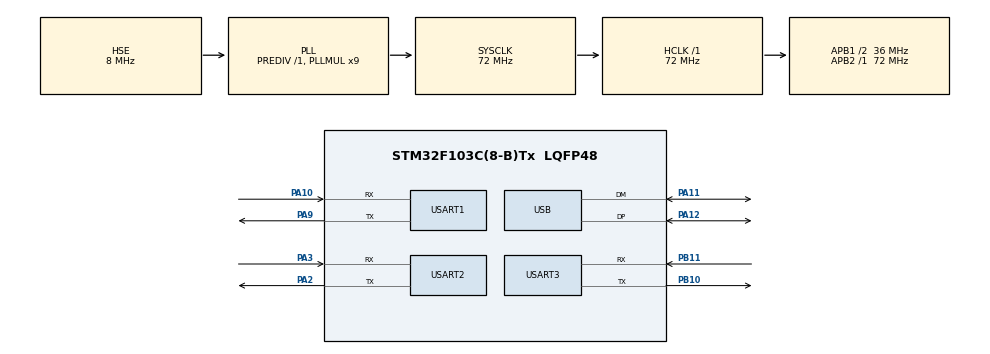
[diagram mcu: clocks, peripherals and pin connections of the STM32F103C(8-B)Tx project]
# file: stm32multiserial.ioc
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Dma.Request0=USART1_TX
Dma.Request1=USART2_TX
Dma.USART1_TX.0.Direction=DMA_MEMORY_TO_PERIPH
Dma.USART1_TX.0.Instance=DMA1_Channel4
Dma.USART1_TX.0.MemDataAlignment=DMA_MDATAALIGN_BYTE
Dma.USART1_TX.0.MemInc=DMA_MINC_ENABLE
Dma.USART1_TX.0.Mode=DMA_NORMAL
Dma.USART1_TX.0.PeriphDataAlignment=DMA_PDATAALIGN_BYTE
Dma.USART1_TX.0.PeriphInc=DMA_PINC_DISABLE
Dma.USART1_TX.0.Priority=DMA_PRIORITY_LOW
Dma.USART2_TX.1.Direction=DMA_MEMORY_TO_PERIPH
Dma.USART2_TX.1.Instance=DMA1_Channel7
Dma.USART2_TX.1.MemDataAlignment=DMA_MDATAALIGN_BYTE
Dma.USART2_TX.1.MemInc=DMA_MINC_ENABLE
Dma.USART2_TX.1.Mode=DMA_NORMAL
Dma.USART2_TX.1.PeriphDataAlignment=DMA_PDATAALIGN_BYTE
Dma.USART2_TX.1.PeriphInc=DMA_PINC_DISABLE
Dma.USART2_TX.1.Priority=DMA_PRIORITY_LOW
Mcu.Family=STM32F1
Mcu.Name=STM32F103C(8-B)Tx
Mcu.Package=LQFP48
NVIC.DMA1_Channel4_IRQn=true\:5\:0\:true\:false\:true\:false
NVIC.DMA1_Channel7_IRQn=true\:5\:0\:true\:false\:true\:false
NVIC.PriorityGroup=NVIC_PRIORITYGROUP_4
NVIC.USART1_IRQn=true\:4\:0\:true\:false\:false\:true
NVIC.USART2_IRQn=true\:4\:0\:true\:false\:false\:true
NVIC.USB_LP_CAN1_RX0_IRQn=true\:15\:0\:true\:false\:true\:false
PA10.Mode=Asynchronous
PA10.Signal=USART1_RX
PA11.Mode=Device
PA11.Signal=USB_DM
PA12.Mode=Device
PA12.Signal=USB_DP
PA13.Mode=Serial_Wire
PA13.Signal=SYS_JTMS-SWDIO
PA14.Mode=Serial_Wire
PA14.Signal=SYS_JTCK-SWCLK
PA2.Mode=Asynchronous
PA2.Signal=USART2_TX
PA3.Mode=Asynchronous
PA3.Signal=USART2_RX
PA9.Mode=Asynchronous
PA9.Signal=USART1_TX
PB10.Mode=Asynchronous
PB10.Signal=USART3_TX
PB11.Mode=Asynchronous
PB11.Signal=USART3_RX
PC14-OSC32_IN.Mode=LSE-External-Oscillator
PC14-OSC32_IN.Signal=RCC_OSC32_IN
PC15-OSC32_OUT.Mode=LSE-External-Oscillator
PC15-OSC32_OUT.Signal=RCC_OSC32_OUT
PD0-OSC_IN.Mode=HSE-External-Oscillator
PD0-OSC_IN.Signal=RCC_OSC_IN
PD1-OSC_OUT.Mode=HSE-External-Oscillator
PD1-OSC_OUT.Signal=RCC_OSC_OUT
ProjectManager.HeapSize=0x200
ProjectManager.StackSize=0x400
ProjectManager.TargetToolchain=Makefile
RCC.AHBFreq_Value=72000000
RCC.APB1CLKDivider=RCC_HCLK_DIV2
RCC.APB1Freq_Value=36000000
RCC.APB1TimFreq_Value=72000000
RCC.APB2Freq_Value=72000000
RCC.APB2TimFreq_Value=72000000
RCC.HCLKFreq_Value=72000000
RCC.PLLMUL=RCC_PLL_MUL9
RCC.SYSCLKFreq_VALUE=72000000
RCC.SYSCLKSource=RCC_SYSCLKSOURCE_PLLCLK
RCC.USBFreq_Value=48000000
RCC.USBPrescaler=RCC_USBCLKSOURCE_PLL_DIV1_5
USART1.VirtualMode=VM_ASYNC
USART2.VirtualMode=VM_ASYNC
USART3.VirtualMode=VM_ASYNC
USB_DEVICE.CLASS_NAME_FS=CDC
USB_DEVICE.USBD_MAX_NUM_INTERFACES=3
USB_DEVICE.VirtualMode=Cdc
USB_DEVICE.VirtualModeFS=Cdc_FS
VP_USB_DEVICE_VS_USB_DEVICE_CDC_FS.Mode=CDC_FS
board=stm32multiserial

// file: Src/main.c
/**
  ******************************************************************************
  * File Name          : main.c
  * Description        : Main program body
  ******************************************************************************
  * This notice applies to any and all portions of this file
  * that are not between comment pairs USER CODE BEGIN and
  * USER CODE END. Other portions of this file, whether
  * inserted by the user or by software development tools
  * are owned by their respective copyright owners.
  *
  * Copyright (c) 2017 STMicroelectronics International N.V.
  * All rights reserved.
  *
  * Redistribution and use in source and binary forms, with or without
  * modification, are permitted, provided that the following conditions are met:
  *
  * 1. Redistribution of source code must retain the above copyright notice,
  *    this list of conditions and the following disclaimer.
  * 2. Redistributions in binary form must reproduce the above copyright notice,
  *    this list of conditions and the following disclaimer in the documentation
  *    and/or other materials provided with the distribution.
  * 3. Neither the name of STMicroelectronics nor the names of other
  *    contributors to this software may be used to endorse or promote products
  *    derived from this software without specific written permission.
  * 4. This software, including modifications and/or derivative works of this
  *    software, must execute solely and exclusively on microcontroller or
  *    microprocessor devices manufactured by or for STMicroelectronics.
  * 5. Redistribution and use of this software other than as permitted under
  *    this license is void and will automatically terminate your rights under
  *    this license.
  *
  * THIS SOFTWARE IS PROVIDED BY STMICROELECTRONICS AND CONTRIBUTORS "AS IS"
  * AND ANY EXPRESS, IMPLIED OR STATUTORY WARRANTIES, INCLUDING, BUT NOT
  * LIMITED TO, THE IMPLIED WARRANTIES OF MERCHANTABILITY, FITNESS FOR A
  * PARTICULAR PURPOSE AND NON-INFRINGEMENT OF THIRD PARTY INTELLECTUAL PROPERTY
  * RIGHTS ARE DISCLAIMED TO THE FULLEST EXTENT PERMITTED BY LAW. IN NO EVENT
  * SHALL STMICROELECTRONICS OR CONTRIBUTORS BE LIABLE FOR ANY DIRECT, INDIRECT,
  * INCIDENTAL, SPECIAL, EXEMPLARY, OR CONSEQUENTIAL DAMAGES (INCLUDING, BUT NOT
  * LIMITED TO, PROCUREMENT OF SUBSTITUTE GOODS OR SERVICES; LOSS OF USE, DATA,
  * OR PROFITS; OR BUSINESS INTERRUPTION) HOWEVER CAUSED AND ON ANY THEORY OF
  * LIABILITY, WHETHER IN CONTRACT, STRICT LIABILITY, OR TORT (INCLUDING
  * NEGLIGENCE OR OTHERWISE) ARISING IN ANY WAY OUT OF THE USE OF THIS SOFTWARE,
  * EVEN IF ADVISED OF THE POSSIBILITY OF SUCH DAMAGE.
  *
  ******************************************************************************
  */
#include "main.h"
#include "stm32f1xx_hal.h"
#include "dma.h"
#include "usart.h"
#include "usb_device.h"
#include "gpio.h"

/* USER CODE BEGIN Includes */
#include <usbd_cdc_if.h>
/* USER CODE END Includes */

/* USER CODE BEGIN PV */
/* Private variables ---------------------------------------------------------*/

/* USER CODE END PV */

void SystemClock_Config(void);

/* USER CODE BEGIN PFP */
/* Private function prototypes -----------------------------------------------*/

/* USER CODE END PFP */

/* USER CODE BEGIN 0 */
t_ring uart2cdc[CDC_NUM];
t_ring cdc2uart[CDC_NUM];

void ring_put_byte(t_ring *ring, uint8_t data) {
  ring->data[ring->w_pos] = data;
  ring->w_pos++;
  ring->w_pos = ring->w_pos % RING_BUF_SIZE;
}

uint8_t* ring_get_byte(t_ring *ring) {
  if (ring->w_pos == ring->r_pos) return 0;
  uint8_t *ret = ring->data+ring->r_pos;
  ring->r_pos++;
  ring->r_pos = ring->r_pos % RING_BUF_SIZE;
  return ret;
}

void ring_put_data(t_ring *ring, uint8_t *data, uint16_t size) {
  if (size > RING_BUF_SIZE) {
    data = data+(size-RING_BUF_SIZE);
    size = RING_BUF_SIZE;
  }
  for (int i = 0; i < size; i++) {
    ring_put_byte(ring, data[i]);
  }
}

uint16_t ring_get_data(t_ring *ring, uint8_t *data, uint16_t size) {
  if (size > RING_BUF_SIZE) size = RING_BUF_SIZE;
  uint8_t *data_byte;
  for (int i = 0; i < size; i++) {
    data_byte = ring_get_byte(ring);
    if (data_byte == 0) return i;
    data[i] = *data_byte;
  }
  return size;
}

uint8_t uart2cdc_buff[CDC_NUM][RING_BUF_SIZE];
uint8_t cdc2uart_buff[CDC_NUM][RING_BUF_SIZE];

void uart_tick(void) {

  uint16_t data_len;
  for (int i=0;i<CDC_NUM;i++){

    // uart to cdc
    if (CDC_Transmit_Ready(i)) {
      data_len = ring_get_data(&uart2cdc[i], uart2cdc_buff[i], RING_BUF_SIZE);
      if (data_len) {
        CDC_Transmit_FS(i,uart2cdc_buff[i],data_len);
      }
    }

    // cdc to uart
    data_len = ring_get_data(&cdc2uart[i], cdc2uart_buff[i], RING_BUF_SIZE);
    if (data_len) {
      HAL_UART_Transmit(Index2Usart(i), cdc2uart_buff[i], data_len, data_len*2);
    }

  }
}
/* USER CODE END 0 */

int main(void)
{

  /* MCU Configuration----------------------------------------------------------*/

  /* Reset of all peripherals, Initializes the Flash interface and the Systick. */
  HAL_Init();

  /* Configure the system clock */
  SystemClock_Config();

  /* Initialize all configured peripherals */
  MX_GPIO_Init();
  MX_DMA_Init();
  MX_USB_DEVICE_Init();
  MX_USART1_UART_Init();
  MX_USART2_UART_Init();
  MX_USART3_UART_Init();

  /* Infinite loop */
  while (1)
  {

  /* USER CODE BEGIN 3 */
    uart_tick();
  }
  /* USER CODE END 3 */

}

/** System Clock Configuration
*/
void SystemClock_Config(void)
{

  RCC_OscInitTypeDef RCC_OscInitStruct;
  RCC_ClkInitTypeDef RCC_ClkInitStruct;
  RCC_PeriphCLKInitTypeDef PeriphClkInit;

    /**Initializes the CPU, AHB and APB busses clocks
    */
  RCC_OscInitStruct.OscillatorType = RCC_OSCILLATORTYPE_HSE;
  RCC_OscInitStruct.HSEState = RCC_HSE_ON;
  RCC_OscInitStruct.HSEPredivValue = RCC_HSE_PREDIV_DIV1;
  RCC_OscInitStruct.HSIState = RCC_HSI_ON;
  RCC_OscInitStruct.PLL.PLLState = RCC_PLL_ON;
  RCC_OscInitStruct.PLL.PLLSource = RCC_PLLSOURCE_HSE;
  RCC_OscInitStruct.PLL.PLLMUL = RCC_PLL_MUL9;
  if (HAL_RCC_OscConfig(&RCC_OscInitStruct) != HAL_OK)
  {
    _Error_Handler(__FILE__, __LINE__);
  }

    /**Initializes the CPU, AHB and APB busses clocks
    */
  RCC_ClkInitStruct.ClockType = RCC_CLOCKTYPE_HCLK|RCC_CLOCKTYPE_SYSCLK
                              |RCC_CLOCKTYPE_PCLK1|RCC_CLOCKTYPE_PCLK2;
  RCC_ClkInitStruct.SYSCLKSource = RCC_SYSCLKSOURCE_PLLCLK;
  RCC_ClkInitStruct.AHBCLKDivider = RCC_SYSCLK_DIV1;
  RCC_ClkInitStruct.APB1CLKDivider = RCC_HCLK_DIV2;
  RCC_ClkInitStruct.APB2CLKDivider = RCC_HCLK_DIV1;

  if (HAL_RCC_ClockConfig(&RCC_ClkInitStruct, FLASH_LATENCY_2) != HAL_OK)
  {
    _Error_Handler(__FILE__, __LINE__);
  }

  PeriphClkInit.PeriphClockSelection = RCC_PERIPHCLK_USB;
  PeriphClkInit.UsbClockSelection = RCC_USBCLKSOURCE_PLL_DIV1_5;
  if (HAL_RCCEx_PeriphCLKConfig(&PeriphClkInit) != HAL_OK)
  {
    _Error_Handler(__FILE__, __LINE__);
  }

    /**Configure the Systick interrupt time
    */
  HAL_SYSTICK_Config(HAL_RCC_GetHCLKFreq()/1000);

    /**Configure the Systick
    */
  HAL_SYSTICK_CLKSourceConfig(SYSTICK_CLKSOURCE_HCLK);

  /* SysTick_IRQn interrupt configuration */
  HAL_NVIC_SetPriority(SysTick_IRQn, 0, 0);
}

void _Error_Handler(char * file, int line)
{
  while(1)
  {
  }
}

/************************ (C) COPYRIGHT STMicroelectronics *****END OF FILE****/
